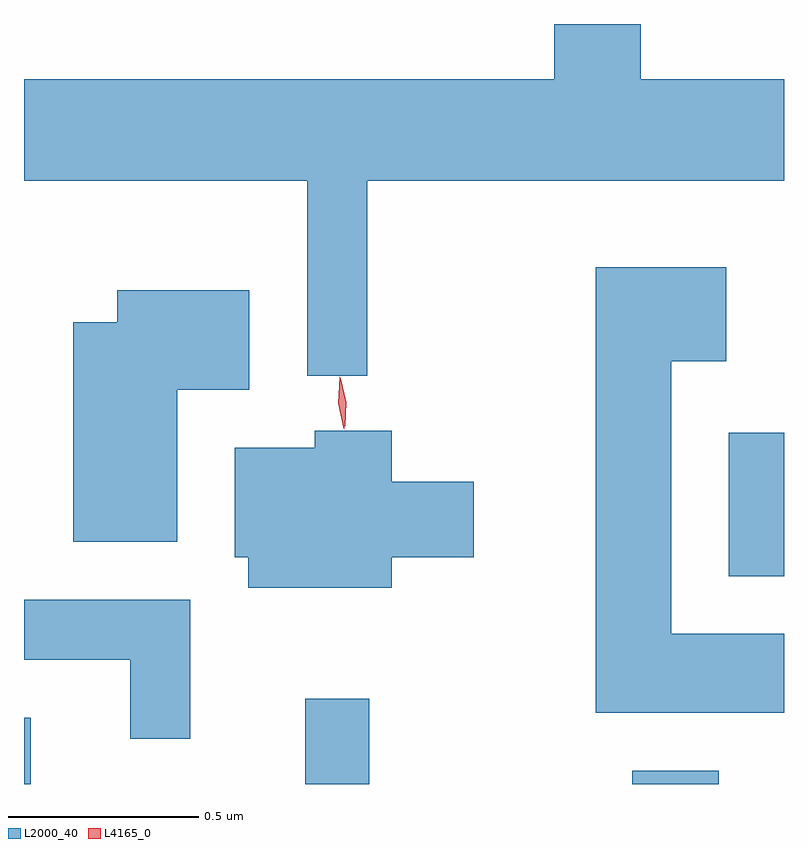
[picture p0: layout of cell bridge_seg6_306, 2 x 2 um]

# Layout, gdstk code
import gdstk
lib = gdstk.Library(unit=1e-6, precision=1e-09)
def R(c, l, rs):  # rectangles x0, y0, x1, y1
    for r in rs: c.add(gdstk.rectangle(r[:2], r[2:], *l))
def P(c, l, *ps):  # polygons
    for p in ps: c.add(gdstk.Polygon(p, *l))
L2000_40 = (2000, 40)
L4165_0 = (4165, 0)

bridge_seg6_306 = lib.new_cell('bridge_seg6_306')
R(bridge_seg6_306, L2000_40, [(1255.341,1563.989,1255.359,1564.164), (1256.081,1563.989,1256.249,1564.213), (1256.941,1563.989,1257.169,1564.024), (1257.196,1564.536,1257.341,1564.914)])
P(bridge_seg6_306, L2000_40, [(1256.244,1565.576),(1257.341,1565.576),(1257.341,1565.844),(1256.964,1565.844),(1256.964,1565.989),(1256.736,1565.989),(1256.736,1565.844),(1255.341,1565.844),(1255.341,1565.576),(1256.086,1565.576),(1256.086,1565.063),(1256.244,1565.063)],
  [(1257.341,1564.384),(1257.044,1564.384),(1257.044,1565.101),(1257.189,1565.101),(1257.189,1565.349),(1256.846,1565.349),(1256.846,1564.176),(1257.341,1564.176)],
  [(1255.744,1565.026),(1255.934,1565.026),(1255.934,1565.289),(1255.586,1565.289),(1255.586,1565.204),(1255.471,1565.204),(1255.471,1564.626),(1255.744,1564.626)],
  [(1256.309,1564.586),(1256.524,1564.586),(1256.524,1564.784),(1256.309,1564.784),(1256.309,1564.919),(1256.106,1564.919),(1256.106,1564.874),(1255.896,1564.874),(1255.896,1564.586),(1255.931,1564.586),(1255.931,1564.506),(1256.309,1564.506)],
  [(1255.779,1564.474),(1255.341,1564.474),(1255.341,1564.316),(1255.621,1564.316),(1255.621,1564.108),(1255.779,1564.108)])
P(bridge_seg6_306, L4165_0, [(1256.182,1564.924),(1256.168,1564.991),(1256.172,1565.059),(1256.173,1565.06),(1256.173,1565.059),(1256.188,1564.992),(1256.184,1564.924),(1256.183,1564.924)],
  [(1256.185,1564.93),(1256.169,1564.992),(1256.172,1565.056),(1256.173,1565.056),(1256.174,1565.056),(1256.189,1564.994),(1256.186,1564.93),(1256.186,1564.93)])

lib.write_gds('bridge_seg6_306.gds')
